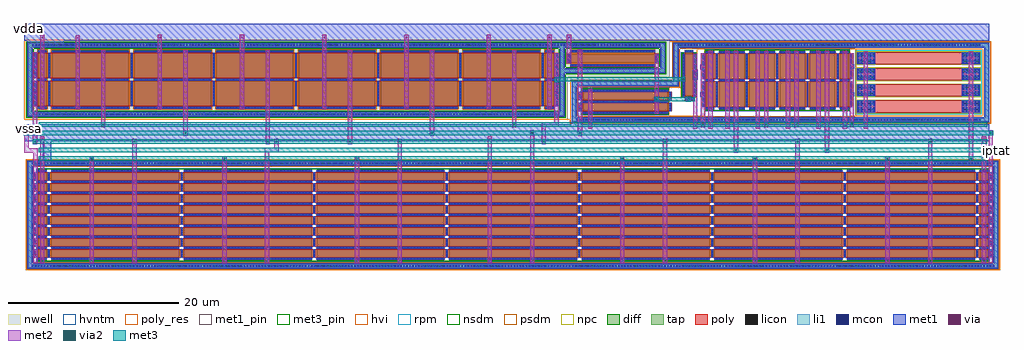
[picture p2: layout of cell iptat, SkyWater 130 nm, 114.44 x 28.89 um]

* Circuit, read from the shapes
.subckt iptat vdda vssa
XM1 vssa n1 vssa vssa sky130_fd_pr__nfet_g5v0d10v5 w=1 l=1 m=16
XM2 n2 n1 n3 vssa sky130_fd_pr__nfet_g5v0d10v5 w=15 l=1 m=48
XM3 n1 n1 vssa vssa sky130_fd_pr__nfet_g5v0d10v5 w=15 l=1 m=8
XM4 n4 n1 vssa vssa sky130_fd_pr__nfet_g5v0d10v5 w=10 l=1 m=2
XM5 vssa n4 n2 vssa sky130_fd_pr__nfet_g5v0d10v5 w=5 l=1
XM6 vssa n5 vssa vssa sky130_fd_pr__nfet_g5v0d10v5 w=1 l=3 m=4
XM7 n6 n5 vssa vssa sky130_fd_pr__nfet_g5v0d10v5 w=3 l=3 m=4
XM8 n5 n5 vssa vssa sky130_fd_pr__nfet_g5v0d10v5 w=3 l=3 m=4
XM9 vdda n2 vdda vdda sky130_fd_pr__pfet_g5v0d10v5 w=1 l=3 m=4
XM10 n5 n2 vdda vdda sky130_fd_pr__pfet_g5v0d10v5 w=9 l=3 m=4
XM11 n1 n2 vdda vdda sky130_fd_pr__pfet_g5v0d10v5 w=9 l=3 m=4
XM12 n2 n2 vdda vdda sky130_fd_pr__pfet_g5v0d10v5 w=9 l=3 m=4
XM13 n4 n1 vdda vdda sky130_fd_pr__pfet_g5v0d10v5 w=1 l=10
XR14 n3 vssa vssa sky130_fd_pr__res_high_po w=1.41 l=10.18 m=4
.ends

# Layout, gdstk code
from math import pi, radians
import gdstk
lib = gdstk.Library(unit=1e-6, precision=1e-09)
def R(c, l, rs):  # rectangles x0, y0, x1, y1
    for r in rs: c.add(gdstk.rectangle(r[:2], r[2:], *l))
def A(c, l, x, y, w, h, nx, ny, dx, dy):  # array of equal rectangles
    R(c, l, [(x+i*dx, y+j*dy, x+i*dx+w, y+j*dy+h) for i in range(nx) for j in range(ny)])
nwell = (64, 20)
diff = (65, 20)
tap = (65, 44)
poly_res = (66, 13)
poly = (66, 20)
licon = (66, 44)
li1 = (67, 20)
mcon = (67, 44)
met1_pin = (68, 16)
met1 = (68, 20)
via = (68, 44)
met2 = (69, 20)
via2 = (69, 44)
met3_pin = (70, 16)
met3 = (70, 20)
hvi = (75, 20)
rpm = (86, 20)
nsdm = (93, 44)
psdm = (94, 20)
npc = (95, 20)
hvntm = (125, 20)

sky130_fd_pr__res_high_p = lib.new_cell('sky130_fd_pr__res_high_po_1p41_WUTXG4')
A(sky130_fd_pr__res_high_p, poly_res, -3.54, -5.15, 1.41, 10.3, 4, 1, 1.89, 0)
A(sky130_fd_pr__res_high_p, poly, -3.54, -7.23, 1.41, 14.46, 4, 1, 1.89, 0)
R(sky130_fd_pr__res_high_p, licon, [(-3.285,-7.15,-3.095,-5.15), (-2.575,-7.15,-2.385,-5.15), (-1.395,-7.15,-1.205,-5.15), (-0.685,-7.15,-0.495,-5.15), (0.495,-7.15,0.685,-5.15), (1.205,-7.15,1.395,-5.15), (2.385,-7.15,2.575,-5.15), (3.095,-7.15,3.285,-5.15), (-3.285,5.15,-3.095,7.15), (-2.575,5.15,-2.385,7.15), (-1.395,5.15,-1.205,7.15), (-0.685,5.15,-0.495,7.15), (0.495,5.15,0.685,7.15), (1.205,5.15,1.395,7.15), (2.385,5.15,2.575,7.15), (3.095,5.15,3.285,7.15)])
A(sky130_fd_pr__res_high_p, li1, -3.54, -7.23, 1.41, 2.16, 4, 2, 1.89, 12.3)
A(sky130_fd_pr__res_high_p, mcon, -3.46, -7.135, 0.17, 0.17, 4, 6, 0.36, 0.36)
A(sky130_fd_pr__res_high_p, mcon, -1.57, -7.135, 0.17, 0.17, 4, 6, 0.36, 0.36)
A(sky130_fd_pr__res_high_p, mcon, 0.32, -7.135, 0.17, 0.17, 4, 6, 0.36, 0.36)
A(sky130_fd_pr__res_high_p, mcon, 2.21, -7.135, 0.17, 0.17, 4, 6, 0.36, 0.36)
A(sky130_fd_pr__res_high_p, mcon, -3.46, 5.16, 0.17, 0.17, 4, 6, 0.36, 0.36)
A(sky130_fd_pr__res_high_p, mcon, -1.57, 5.16, 0.17, 0.17, 4, 6, 0.36, 0.36)
A(sky130_fd_pr__res_high_p, mcon, 0.32, 5.16, 0.17, 0.17, 4, 6, 0.36, 0.36)
A(sky130_fd_pr__res_high_p, mcon, 2.21, 5.16, 0.17, 0.17, 4, 6, 0.36, 0.36)
A(sky130_fd_pr__res_high_p, met1, -3.49, -7.2, 1.31, 2.105, 4, 2, 1.89, 12.295)
R(sky130_fd_pr__res_high_p, rpm, [(-3.74,-7.43,3.74,7.43)])
R(sky130_fd_pr__res_high_p, psdm, [(-3.65,-7.34,3.65,7.34)])
A(sky130_fd_pr__res_high_p, npc, -3.635, -7.325, 1.6, 14.65, 4, 1, 1.89, 0)

sky130_fd_pr__nfet_g5v0d = lib.new_cell('sky130_fd_pr__nfet_g5v0d10v5_WC59T4')
R(sky130_fd_pr__nfet_g5v0d, diff, [(-5.305,-0.5,5.305,0.5)])
A(sky130_fd_pr__nfet_g5v0d, poly, -5.015, -0.94, 1, 1.88, 8, 1, 1.29, 0)
A(sky130_fd_pr__nfet_g5v0d, licon, -5.245, -0.425, 0.17, 0.17, 9, 3, 1.29, 0.34)
R(sky130_fd_pr__nfet_g5v0d, licon, [(-4.77,-0.86,-4.6,-0.69), (-4.43,-0.86,-4.26,-0.69), (-3.48,-0.86,-3.31,-0.69), (-3.14,-0.86,-2.97,-0.69), (-2.19,-0.86,-2.02,-0.69), (-1.85,-0.86,-1.68,-0.69), (-0.9,-0.86,-0.73,-0.69), (-0.56,-0.86,-0.39,-0.69), (0.39,-0.86,0.56,-0.69), (0.73,-0.86,0.9,-0.69), (1.68,-0.86,1.85,-0.69), (2.02,-0.86,2.19,-0.69), (2.97,-0.86,3.14,-0.69), (3.31,-0.86,3.48,-0.69), (4.26,-0.86,4.43,-0.69), (4.6,-0.86,4.77,-0.69), (-4.77,0.69,-4.6,0.86), (-4.43,0.69,-4.26,0.86), (-3.48,0.69,-3.31,0.86), (-3.14,0.69,-2.97,0.86), (-2.19,0.69,-2.02,0.86), (-1.85,0.69,-1.68,0.86), (-0.9,0.69,-0.73,0.86), (-0.56,0.69,-0.39,0.86), (0.39,0.69,0.56,0.86), (0.73,0.69,0.9,0.86), (1.68,0.69,1.85,0.86), (2.02,0.69,2.19,0.86), (2.97,0.69,3.14,0.86), (3.31,0.69,3.48,0.86), (4.26,0.69,4.43,0.86), (4.6,0.69,4.77,0.86)])
A(sky130_fd_pr__nfet_g5v0d, li1, -5.015, -0.86, 1, 0.17, 8, 2, 1.29, 1.55)
A(sky130_fd_pr__nfet_g5v0d, li1, -5.245, -0.52, 0.17, 1.04, 9, 1, 1.29, 0)
A(sky130_fd_pr__nfet_g5v0d, mcon, -5.245, -0.265, 0.17, 0.17, 9, 2, 1.29, 0.36)
R(sky130_fd_pr__nfet_g5v0d, mcon, [(-4.78,-0.86,-4.61,-0.69), (-4.42,-0.86,-4.25,-0.69), (-3.49,-0.86,-3.32,-0.69), (-3.13,-0.86,-2.96,-0.69), (-2.2,-0.86,-2.03,-0.69), (-1.84,-0.86,-1.67,-0.69), (-0.91,-0.86,-0.74,-0.69), (-0.55,-0.86,-0.38,-0.69), (0.38,-0.86,0.55,-0.69), (0.74,-0.86,0.91,-0.69), (1.67,-0.86,1.84,-0.69), (2.03,-0.86,2.2,-0.69), (2.96,-0.86,3.13,-0.69), (3.32,-0.86,3.49,-0.69), (4.25,-0.86,4.42,-0.69), (4.61,-0.86,4.78,-0.69), (-4.78,0.69,-4.61,0.86), (-4.42,0.69,-4.25,0.86), (-3.49,0.69,-3.32,0.86), (-3.13,0.69,-2.96,0.86), (-2.2,0.69,-2.03,0.86), (-1.84,0.69,-1.67,0.86), (-0.91,0.69,-0.74,0.86), (-0.55,0.69,-0.38,0.86), (0.38,0.69,0.55,0.86), (0.74,0.69,0.91,0.86), (1.67,0.69,1.84,0.86), (2.03,0.69,2.2,0.86), (2.96,0.69,3.13,0.86), (3.32,0.69,3.49,0.86), (4.25,0.69,4.42,0.86), (4.61,0.69,4.78,0.86)])
A(sky130_fd_pr__nfet_g5v0d, met1, -4.995, -0.89, 0.96, 0.23, 8, 2, 1.29, 1.55)
A(sky130_fd_pr__nfet_g5v0d, met1, -5.275, -0.5, 0.23, 1, 9, 1, 1.29, 0)
R(sky130_fd_pr__nfet_g5v0d, hvi, [(-5.49,-0.685,5.49,0.685)])
R(sky130_fd_pr__nfet_g5v0d, nsdm, [(-5.43,-0.625,5.43,0.625)])
A(sky130_fd_pr__nfet_g5v0d, npc, -4.87, -0.96, 0.71, 0.37, 8, 2, 1.29, 1.55)
R(sky130_fd_pr__nfet_g5v0d, hvntm, [(-5.49,-0.685,5.49,0.685)])

c_sky130_fd_pr__nfet_g5v0d = lib.new_cell('sky130_fd_pr__nfet_g5v0d10v5_5XWZCB')
R(c_sky130_fd_pr__nfet_g5v0d, diff, [(-3.435,-0.5,3.435,0.5)])
R(c_sky130_fd_pr__nfet_g5v0d, poly, [(-3.145,-0.94,-0.145,0.94), (0.145,-0.94,3.145,0.94)])
A(c_sky130_fd_pr__nfet_g5v0d, licon, -2.92, -0.86, 0.17, 0.17, 8, 2, 0.34, 1.55)
A(c_sky130_fd_pr__nfet_g5v0d, licon, 0.37, -0.86, 0.17, 0.17, 8, 2, 0.34, 1.55)
A(c_sky130_fd_pr__nfet_g5v0d, licon, -3.375, -0.425, 0.17, 0.17, 3, 3, 3.29, 0.34)
A(c_sky130_fd_pr__nfet_g5v0d, li1, -3.375, -0.52, 0.17, 1.04, 3, 1, 3.29, 0)
R(c_sky130_fd_pr__nfet_g5v0d, li1, [(-3.145,-0.86,-0.145,-0.69), (0.145,-0.86,3.145,-0.69), (-3.145,0.69,-0.145,0.86), (0.145,0.69,3.145,0.86)])
A(c_sky130_fd_pr__nfet_g5v0d, mcon, -2.99, -0.86, 0.17, 0.17, 8, 2, 0.36, 1.55)
A(c_sky130_fd_pr__nfet_g5v0d, mcon, 0.3, -0.86, 0.17, 0.17, 8, 2, 0.36, 1.55)
A(c_sky130_fd_pr__nfet_g5v0d, mcon, -3.375, -0.265, 0.17, 0.17, 3, 2, 3.29, 0.36)
A(c_sky130_fd_pr__nfet_g5v0d, met1, -3.405, -0.5, 0.23, 1, 3, 1, 3.29, 0)
R(c_sky130_fd_pr__nfet_g5v0d, met1, [(-3.125,-0.89,-0.165,-0.66), (0.165,-0.89,3.125,-0.66), (-3.125,0.66,-0.165,0.89), (0.165,0.66,3.125,0.89)])
R(c_sky130_fd_pr__nfet_g5v0d, hvi, [(-3.62,-0.685,3.62,0.685)])
R(c_sky130_fd_pr__nfet_g5v0d, nsdm, [(-3.56,-0.625,3.56,0.625)])
R(c_sky130_fd_pr__nfet_g5v0d, npc, [(-3.02,-0.96,-0.27,-0.59), (0.27,-0.96,3.02,-0.59), (-3.02,0.59,-0.27,0.96), (0.27,0.59,3.02,0.96)])
R(c_sky130_fd_pr__nfet_g5v0d, hvntm, [(-3.62,-0.685,3.62,0.685)])

sky130_fd_pr__pfet_g5v0d = lib.new_cell('sky130_fd_pr__pfet_g5v0d10v5_9TWSB2')
R(sky130_fd_pr__pfet_g5v0d, nwell, [(-3.615,-1,3.615,1)])
R(sky130_fd_pr__pfet_g5v0d, diff, [(-3.435,-0.5,3.435,0.5)])
R(sky130_fd_pr__pfet_g5v0d, poly, [(-3.145,-0.985,-0.145,0.985), (0.145,-0.985,3.145,0.985)])
A(sky130_fd_pr__pfet_g5v0d, licon, -2.92, -0.905, 0.17, 0.17, 8, 2, 0.34, 1.64)
A(sky130_fd_pr__pfet_g5v0d, licon, 0.37, -0.905, 0.17, 0.17, 8, 2, 0.34, 1.64)
A(sky130_fd_pr__pfet_g5v0d, licon, -3.375, -0.425, 0.17, 0.17, 3, 3, 3.29, 0.34)
A(sky130_fd_pr__pfet_g5v0d, li1, -3.375, -0.52, 0.17, 1.04, 3, 1, 3.29, 0)
R(sky130_fd_pr__pfet_g5v0d, li1, [(-3.145,-0.905,-0.145,-0.735), (0.145,-0.905,3.145,-0.735), (-3.145,0.735,-0.145,0.905), (0.145,0.735,3.145,0.905)])
A(sky130_fd_pr__pfet_g5v0d, mcon, -2.99, -0.905, 0.17, 0.17, 8, 2, 0.36, 1.64)
A(sky130_fd_pr__pfet_g5v0d, mcon, 0.3, -0.905, 0.17, 0.17, 8, 2, 0.36, 1.64)
A(sky130_fd_pr__pfet_g5v0d, mcon, -3.375, -0.265, 0.17, 0.17, 3, 2, 3.29, 0.36)
A(sky130_fd_pr__pfet_g5v0d, met1, -3.405, -0.5, 0.23, 1, 3, 1, 3.29, 0)
R(sky130_fd_pr__pfet_g5v0d, met1, [(-3.125,-0.935,-0.165,-0.705), (0.165,-0.935,3.125,-0.705), (-3.125,0.705,-0.165,0.935), (0.165,0.705,3.125,0.935)])
R(sky130_fd_pr__pfet_g5v0d, hvi, [(-3.615,-1,3.615,-0.685), (-3.62,-0.685,3.62,0.685), (-3.615,0.685,3.615,1)])
R(sky130_fd_pr__pfet_g5v0d, psdm, [(-3.56,-0.625,3.56,0.625)])
R(sky130_fd_pr__pfet_g5v0d, npc, [(-3.02,-1.005,-0.27,-0.635), (0.27,-1.005,3.02,-0.635), (-3.02,0.635,-0.27,1.005), (0.27,0.635,3.02,1.005)])

c_sky130_fd_pr__pfet_g5v0d = lib.new_cell('sky130_fd_pr__pfet_g5v0d10v5_4DZKWV')
R(c_sky130_fd_pr__pfet_g5v0d, nwell, [(-3.615,-1,3.615,1)])
R(c_sky130_fd_pr__pfet_g5v0d, diff, [(-3.435,-0.5,3.435,0.5)])
R(c_sky130_fd_pr__pfet_g5v0d, poly, [(-3.145,-0.985,-0.145,0.985), (0.145,-0.985,3.145,0.985)])
A(c_sky130_fd_pr__pfet_g5v0d, licon, -2.92, -0.905, 0.17, 0.17, 8, 2, 0.34, 1.64)
A(c_sky130_fd_pr__pfet_g5v0d, licon, 0.37, -0.905, 0.17, 0.17, 8, 2, 0.34, 1.64)
A(c_sky130_fd_pr__pfet_g5v0d, licon, -3.375, -0.425, 0.17, 0.17, 3, 3, 3.29, 0.34)
A(c_sky130_fd_pr__pfet_g5v0d, li1, -3.375, -0.52, 0.17, 1.04, 3, 1, 3.29, 0)
R(c_sky130_fd_pr__pfet_g5v0d, li1, [(-3.145,-0.905,-0.145,-0.735), (0.145,-0.905,3.145,-0.735), (-3.145,0.735,-0.145,0.905), (0.145,0.735,3.145,0.905)])
A(c_sky130_fd_pr__pfet_g5v0d, mcon, -2.99, -0.905, 0.17, 0.17, 8, 2, 0.36, 1.64)
A(c_sky130_fd_pr__pfet_g5v0d, mcon, 0.3, -0.905, 0.17, 0.17, 8, 2, 0.36, 1.64)
A(c_sky130_fd_pr__pfet_g5v0d, mcon, -3.375, -0.265, 0.17, 0.17, 3, 2, 3.29, 0.36)
A(c_sky130_fd_pr__pfet_g5v0d, met1, -3.405, -0.5, 0.23, 1, 3, 1, 3.29, 0)
R(c_sky130_fd_pr__pfet_g5v0d, met1, [(-3.125,-0.935,-0.165,-0.705), (0.165,-0.935,3.125,-0.705), (-3.125,0.705,-0.165,0.935), (0.165,0.705,3.125,0.935)])
R(c_sky130_fd_pr__pfet_g5v0d, hvi, [(-3.615,-1,3.615,-0.685), (-3.62,-0.685,3.62,0.685), (-3.615,0.685,3.615,1)])
R(c_sky130_fd_pr__pfet_g5v0d, psdm, [(-3.56,-0.625,3.56,0.625)])
R(c_sky130_fd_pr__pfet_g5v0d, npc, [(-3.02,-1.005,-0.27,-0.635), (0.27,-1.005,3.02,-0.635), (-3.02,0.635,-0.27,1.005), (0.27,0.635,3.02,1.005)])

c_sky130_fd_pr__nfet_g5v0d_ = lib.new_cell('sky130_fd_pr__nfet_g5v0d10v5_8D664F')
R(c_sky130_fd_pr__nfet_g5v0d_, diff, [(-5.305,-7.5,5.305,7.5)])
A(c_sky130_fd_pr__nfet_g5v0d_, poly, -5.015, -7.94, 1, 15.88, 8, 1, 1.29, 0)
A(c_sky130_fd_pr__nfet_g5v0d_, licon, -5.245, -7.395, 0.17, 0.17, 9, 44, 1.29, 0.34)
R(c_sky130_fd_pr__nfet_g5v0d_, licon, [(-4.77,-7.86,-4.6,-7.69), (-4.43,-7.86,-4.26,-7.69), (-3.48,-7.86,-3.31,-7.69), (-3.14,-7.86,-2.97,-7.69), (-2.19,-7.86,-2.02,-7.69), (-1.85,-7.86,-1.68,-7.69), (-0.9,-7.86,-0.73,-7.69), (-0.56,-7.86,-0.39,-7.69), (0.39,-7.86,0.56,-7.69), (0.73,-7.86,0.9,-7.69), (1.68,-7.86,1.85,-7.69), (2.02,-7.86,2.19,-7.69), (2.97,-7.86,3.14,-7.69), (3.31,-7.86,3.48,-7.69), (4.26,-7.86,4.43,-7.69), (4.6,-7.86,4.77,-7.69), (-4.77,7.69,-4.6,7.86), (-4.43,7.69,-4.26,7.86), (-3.48,7.69,-3.31,7.86), (-3.14,7.69,-2.97,7.86), (-2.19,7.69,-2.02,7.86), (-1.85,7.69,-1.68,7.86), (-0.9,7.69,-0.73,7.86), (-0.56,7.69,-0.39,7.86), (0.39,7.69,0.56,7.86), (0.73,7.69,0.9,7.86), (1.68,7.69,1.85,7.86), (2.02,7.69,2.19,7.86), (2.97,7.69,3.14,7.86), (3.31,7.69,3.48,7.86), (4.26,7.69,4.43,7.86), (4.6,7.69,4.77,7.86)])
A(c_sky130_fd_pr__nfet_g5v0d_, li1, -5.015, -7.86, 1, 0.17, 8, 2, 1.29, 15.55)
A(c_sky130_fd_pr__nfet_g5v0d_, li1, -5.245, -7.52, 0.17, 15.04, 9, 1, 1.29, 0)
A(c_sky130_fd_pr__nfet_g5v0d_, mcon, -5.245, -7.285, 0.17, 0.17, 9, 41, 1.29, 0.36)
R(c_sky130_fd_pr__nfet_g5v0d_, mcon, [(-4.78,-7.86,-4.61,-7.69), (-4.42,-7.86,-4.25,-7.69), (-3.49,-7.86,-3.32,-7.69), (-3.13,-7.86,-2.96,-7.69), (-2.2,-7.86,-2.03,-7.69), (-1.84,-7.86,-1.67,-7.69), (-0.91,-7.86,-0.74,-7.69), (-0.55,-7.86,-0.38,-7.69), (0.38,-7.86,0.55,-7.69), (0.74,-7.86,0.91,-7.69), (1.67,-7.86,1.84,-7.69), (2.03,-7.86,2.2,-7.69), (2.96,-7.86,3.13,-7.69), (3.32,-7.86,3.49,-7.69), (4.25,-7.86,4.42,-7.69), (4.61,-7.86,4.78,-7.69), (-4.78,7.69,-4.61,7.86), (-4.42,7.69,-4.25,7.86), (-3.49,7.69,-3.32,7.86), (-3.13,7.69,-2.96,7.86), (-2.2,7.69,-2.03,7.86), (-1.84,7.69,-1.67,7.86), (-0.91,7.69,-0.74,7.86), (-0.55,7.69,-0.38,7.86), (0.38,7.69,0.55,7.86), (0.74,7.69,0.91,7.86), (1.67,7.69,1.84,7.86), (2.03,7.69,2.2,7.86), (2.96,7.69,3.13,7.86), (3.32,7.69,3.49,7.86), (4.25,7.69,4.42,7.86), (4.61,7.69,4.78,7.86)])
A(c_sky130_fd_pr__nfet_g5v0d_, met1, -4.995, -7.89, 0.96, 0.23, 8, 2, 1.29, 15.55)
A(c_sky130_fd_pr__nfet_g5v0d_, met1, -5.275, -7.5, 0.23, 15, 9, 1, 1.29, 0)
R(c_sky130_fd_pr__nfet_g5v0d_, hvi, [(-5.49,-7.685,5.49,7.685)])
R(c_sky130_fd_pr__nfet_g5v0d_, nsdm, [(-5.43,-7.625,5.43,7.625)])
A(c_sky130_fd_pr__nfet_g5v0d_, npc, -4.87, -7.96, 0.71, 0.37, 8, 2, 1.29, 15.55)
R(c_sky130_fd_pr__nfet_g5v0d_, hvntm, [(-5.49,-7.685,5.49,7.685)])

c_sky130_fd_pr__pfet_g5v0d_ = lib.new_cell('sky130_fd_pr__pfet_g5v0d10v5_KH6JES')
R(c_sky130_fd_pr__pfet_g5v0d_, nwell, [(-5.47,-1,5.47,1)])
R(c_sky130_fd_pr__pfet_g5v0d_, diff, [(-5.29,-0.5,5.29,0.5)])
R(c_sky130_fd_pr__pfet_g5v0d_, poly, [(-5,-0.985,5,0.985)])
A(c_sky130_fd_pr__pfet_g5v0d_, licon, -4.845, -0.905, 0.17, 0.17, 29, 2, 0.34, 1.64)
A(c_sky130_fd_pr__pfet_g5v0d_, licon, -5.23, -0.425, 0.17, 0.17, 1, 3, 0, 0.34)
A(c_sky130_fd_pr__pfet_g5v0d_, licon, 5.06, -0.425, 0.17, 0.17, 1, 3, 0, 0.34)
R(c_sky130_fd_pr__pfet_g5v0d_, li1, [(-5,-0.905,5,-0.735), (-5.23,-0.52,-5.06,0.52), (5.06,-0.52,5.23,0.52), (-5,0.735,5,0.905)])
A(c_sky130_fd_pr__pfet_g5v0d_, mcon, -4.765, -0.905, 0.17, 0.17, 27, 2, 0.36, 1.64)
R(c_sky130_fd_pr__pfet_g5v0d_, mcon, [(-5.23,-0.265,-5.06,-0.095), (5.06,-0.265,5.23,-0.095), (-5.23,0.095,-5.06,0.265), (5.06,0.095,5.23,0.265)])
R(c_sky130_fd_pr__pfet_g5v0d_, met1, [(-4.98,-0.935,4.98,-0.705), (-5.26,-0.5,-5.03,0.5), (5.03,-0.5,5.26,0.5), (-4.98,0.705,4.98,0.935)])
R(c_sky130_fd_pr__pfet_g5v0d_, hvi, [(-5.47,-1,5.47,-0.685), (-5.475,-0.685,5.475,0.685), (-5.47,0.685,5.47,1)])
R(c_sky130_fd_pr__pfet_g5v0d_, psdm, [(-5.415,-0.625,5.415,0.625)])
R(c_sky130_fd_pr__pfet_g5v0d_, npc, [(-4.945,-1.005,4.945,-0.635), (-4.945,0.635,4.945,1.005)])

c_sky130_fd_pr__nfet_g5v0d__ = lib.new_cell('sky130_fd_pr__nfet_g5v0d10v5_NASXE7')
R(c_sky130_fd_pr__nfet_g5v0d__, diff, [(-0.79,-2.5,0.79,2.5)])
R(c_sky130_fd_pr__nfet_g5v0d__, poly, [(-0.5,-2.94,0.5,2.94)])
A(c_sky130_fd_pr__nfet_g5v0d__, licon, -0.73, -2.295, 0.17, 0.17, 1, 14, 0, 0.34)
A(c_sky130_fd_pr__nfet_g5v0d__, licon, 0.56, -2.295, 0.17, 0.17, 1, 14, 0, 0.34)
R(c_sky130_fd_pr__nfet_g5v0d__, licon, [(-0.255,-2.86,-0.085,-2.69), (0.085,-2.86,0.255,-2.69), (-0.255,2.69,-0.085,2.86), (0.085,2.69,0.255,2.86)])
R(c_sky130_fd_pr__nfet_g5v0d__, li1, [(-0.5,-2.86,0.5,-2.69), (-0.73,-2.52,-0.56,2.52), (0.56,-2.52,0.73,2.52), (-0.5,2.69,0.5,2.86)])
A(c_sky130_fd_pr__nfet_g5v0d__, mcon, -0.73, -2.425, 0.17, 0.17, 1, 14, 0, 0.36)
A(c_sky130_fd_pr__nfet_g5v0d__, mcon, 0.56, -2.425, 0.17, 0.17, 1, 14, 0, 0.36)
R(c_sky130_fd_pr__nfet_g5v0d__, mcon, [(-0.265,-2.86,-0.095,-2.69), (0.095,-2.86,0.265,-2.69), (-0.265,2.69,-0.095,2.86), (0.095,2.69,0.265,2.86)])
R(c_sky130_fd_pr__nfet_g5v0d__, met1, [(-0.48,-2.89,0.48,-2.66), (-0.76,-2.5,-0.53,2.5), (0.53,-2.5,0.76,2.5), (-0.48,2.66,0.48,2.89)])
R(c_sky130_fd_pr__nfet_g5v0d__, hvi, [(-0.975,-2.685,0.975,2.685)])
R(c_sky130_fd_pr__nfet_g5v0d__, nsdm, [(-0.915,-2.625,0.915,2.625)])
R(c_sky130_fd_pr__nfet_g5v0d__, npc, [(-0.355,-2.96,0.355,-2.59), (-0.355,2.59,0.355,2.96)])
R(c_sky130_fd_pr__nfet_g5v0d__, hvntm, [(-0.975,-2.685,0.975,2.685)])

c_sky130_fd_pr__nfet_g5v0d___ = lib.new_cell('sky130_fd_pr__nfet_g5v0d10v5_Z9T923')
R(c_sky130_fd_pr__nfet_g5v0d___, diff, [(-1.435,-5,1.435,5)])
R(c_sky130_fd_pr__nfet_g5v0d___, poly, [(-1.145,-5.44,-0.145,5.44), (0.145,-5.44,1.145,5.44)])
A(c_sky130_fd_pr__nfet_g5v0d___, licon, -1.375, -4.845, 0.17, 0.17, 3, 29, 1.29, 0.34)
R(c_sky130_fd_pr__nfet_g5v0d___, licon, [(-0.9,-5.36,-0.73,-5.19), (-0.56,-5.36,-0.39,-5.19), (0.39,-5.36,0.56,-5.19), (0.73,-5.36,0.9,-5.19), (-0.9,5.19,-0.73,5.36), (-0.56,5.19,-0.39,5.36), (0.39,5.19,0.56,5.36), (0.73,5.19,0.9,5.36)])
A(c_sky130_fd_pr__nfet_g5v0d___, li1, -1.375, -5.02, 0.17, 10.04, 3, 1, 1.29, 0)
R(c_sky130_fd_pr__nfet_g5v0d___, li1, [(-1.145,-5.36,-0.145,-5.19), (0.145,-5.36,1.145,-5.19), (-1.145,5.19,-0.145,5.36), (0.145,5.19,1.145,5.36)])
A(c_sky130_fd_pr__nfet_g5v0d___, mcon, -1.375, -4.765, 0.17, 0.17, 3, 27, 1.29, 0.36)
R(c_sky130_fd_pr__nfet_g5v0d___, mcon, [(-0.91,-5.36,-0.74,-5.19), (-0.55,-5.36,-0.38,-5.19), (0.38,-5.36,0.55,-5.19), (0.74,-5.36,0.91,-5.19), (-0.91,5.19,-0.74,5.36), (-0.55,5.19,-0.38,5.36), (0.38,5.19,0.55,5.36), (0.74,5.19,0.91,5.36)])
A(c_sky130_fd_pr__nfet_g5v0d___, met1, -1.405, -5, 0.23, 10, 3, 1, 1.29, 0)
R(c_sky130_fd_pr__nfet_g5v0d___, met1, [(-1.125,-5.39,-0.165,-5.16), (0.165,-5.39,1.125,-5.16), (-1.125,5.16,-0.165,5.39), (0.165,5.16,1.125,5.39)])
R(c_sky130_fd_pr__nfet_g5v0d___, hvi, [(-1.62,-5.185,1.62,5.185)])
R(c_sky130_fd_pr__nfet_g5v0d___, nsdm, [(-1.56,-5.125,1.56,5.125)])
R(c_sky130_fd_pr__nfet_g5v0d___, npc, [(-1,-5.46,-0.29,-5.09), (0.29,-5.46,1,-5.09), (-1,5.09,-0.29,5.46), (0.29,5.09,1,5.46)])
R(c_sky130_fd_pr__nfet_g5v0d___, hvntm, [(-1.62,-5.185,1.62,5.185)])

c_sky130_fd_pr__nfet_g5v0d____ = lib.new_cell('sky130_fd_pr__nfet_g5v0d10v5_T4FFC6')
R(c_sky130_fd_pr__nfet_g5v0d____, diff, [(-3.435,-1.5,3.435,1.5)])
R(c_sky130_fd_pr__nfet_g5v0d____, poly, [(-3.145,-1.94,-0.145,1.94), (0.145,-1.94,3.145,1.94)])
A(c_sky130_fd_pr__nfet_g5v0d____, licon, -2.92, -1.86, 0.17, 0.17, 8, 2, 0.34, 3.55)
A(c_sky130_fd_pr__nfet_g5v0d____, licon, 0.37, -1.86, 0.17, 0.17, 8, 2, 0.34, 3.55)
A(c_sky130_fd_pr__nfet_g5v0d____, licon, -3.375, -1.275, 0.17, 0.17, 3, 8, 3.29, 0.34)
A(c_sky130_fd_pr__nfet_g5v0d____, li1, -3.375, -1.52, 0.17, 3.04, 3, 1, 3.29, 0)
R(c_sky130_fd_pr__nfet_g5v0d____, li1, [(-3.145,-1.86,-0.145,-1.69), (0.145,-1.86,3.145,-1.69), (-3.145,1.69,-0.145,1.86), (0.145,1.69,3.145,1.86)])
A(c_sky130_fd_pr__nfet_g5v0d____, mcon, -2.99, -1.86, 0.17, 0.17, 8, 2, 0.36, 3.55)
A(c_sky130_fd_pr__nfet_g5v0d____, mcon, 0.3, -1.86, 0.17, 0.17, 8, 2, 0.36, 3.55)
A(c_sky130_fd_pr__nfet_g5v0d____, mcon, -3.375, -1.345, 0.17, 0.17, 3, 8, 3.29, 0.36)
A(c_sky130_fd_pr__nfet_g5v0d____, met1, -3.405, -1.5, 0.23, 3, 3, 1, 3.29, 0)
R(c_sky130_fd_pr__nfet_g5v0d____, met1, [(-3.125,-1.89,-0.165,-1.66), (0.165,-1.89,3.125,-1.66), (-3.125,1.66,-0.165,1.89), (0.165,1.66,3.125,1.89)])
R(c_sky130_fd_pr__nfet_g5v0d____, hvi, [(-3.62,-1.685,3.62,1.685)])
R(c_sky130_fd_pr__nfet_g5v0d____, nsdm, [(-3.56,-1.625,3.56,1.625)])
R(c_sky130_fd_pr__nfet_g5v0d____, npc, [(-3.02,-1.96,-0.27,-1.59), (0.27,-1.96,3.02,-1.59), (-3.02,1.59,-0.27,1.96), (0.27,1.59,3.02,1.96)])
R(c_sky130_fd_pr__nfet_g5v0d____, hvntm, [(-3.62,-1.685,3.62,1.685)])

c_sky130_fd_pr__pfet_g5v0d__ = lib.new_cell('sky130_fd_pr__pfet_g5v0d10v5_8TN7ZV')
R(c_sky130_fd_pr__pfet_g5v0d__, nwell, [(-3.615,-5,3.615,5)])
R(c_sky130_fd_pr__pfet_g5v0d__, diff, [(-3.435,-4.5,3.435,4.5)])
R(c_sky130_fd_pr__pfet_g5v0d__, poly, [(-3.145,-4.985,-0.145,4.985), (0.145,-4.985,3.145,4.985)])
A(c_sky130_fd_pr__pfet_g5v0d__, licon, -2.92, -4.905, 0.17, 0.17, 8, 2, 0.34, 9.64)
A(c_sky130_fd_pr__pfet_g5v0d__, licon, 0.37, -4.905, 0.17, 0.17, 8, 2, 0.34, 9.64)
A(c_sky130_fd_pr__pfet_g5v0d__, licon, -3.375, -4.335, 0.17, 0.17, 3, 26, 3.29, 0.34)
A(c_sky130_fd_pr__pfet_g5v0d__, li1, -3.375, -4.52, 0.17, 9.04, 3, 1, 3.29, 0)
R(c_sky130_fd_pr__pfet_g5v0d__, li1, [(-3.145,-4.905,-0.145,-4.735), (0.145,-4.905,3.145,-4.735), (-3.145,4.735,-0.145,4.905), (0.145,4.735,3.145,4.905)])
A(c_sky130_fd_pr__pfet_g5v0d__, mcon, -2.99, -4.905, 0.17, 0.17, 8, 2, 0.36, 9.64)
A(c_sky130_fd_pr__pfet_g5v0d__, mcon, 0.3, -4.905, 0.17, 0.17, 8, 2, 0.36, 9.64)
A(c_sky130_fd_pr__pfet_g5v0d__, mcon, -3.375, -4.405, 0.17, 0.17, 3, 25, 3.29, 0.36)
A(c_sky130_fd_pr__pfet_g5v0d__, met1, -3.405, -4.5, 0.23, 9, 3, 1, 3.29, 0)
R(c_sky130_fd_pr__pfet_g5v0d__, met1, [(-3.125,-4.935,-0.165,-4.705), (0.165,-4.935,3.125,-4.705), (-3.125,4.705,-0.165,4.935), (0.165,4.705,3.125,4.935)])
R(c_sky130_fd_pr__pfet_g5v0d__, hvi, [(-3.615,-5,3.615,-4.685), (-3.62,-4.685,3.62,4.685), (-3.615,4.685,3.615,5)])
R(c_sky130_fd_pr__pfet_g5v0d__, psdm, [(-3.56,-4.625,3.56,4.625)])
R(c_sky130_fd_pr__pfet_g5v0d__, npc, [(-3.02,-5.005,-0.27,-4.635), (0.27,-5.005,3.02,-4.635), (-3.02,4.635,-0.27,5.005), (0.27,4.635,3.02,5.005)])

iptat = lib.new_cell('iptat')
R(iptat, nwell, [(4.7,14.15,68.4,19.15), (4.7,19.15,80.35,23.55)])
R(iptat, tap, [(5.05,-3.3,118.9,-2.7), (5.05,-2.7,5.65,8.75), (118.3,-2.7,118.9,8.75), (5.05,8.75,118.9,9.35), (68.85,13.85,117.85,14.45), (68.85,14.45,69.45,18.1), (117.25,14.45,117.85,22.6), (5.05,14.5,68.05,15.1), (5.05,15.1,5.65,22.6), (67.45,15.1,68.05,19.6), (68.85,18.1,81.4,18.7), (80.8,18.7,81.4,22.6), (67.45,19.6,79.85,20.2), (67.45,20.2,68.05,22.6), (79.25,20.2,79.85,22.6), (5.05,22.6,79.85,23.2), (80.8,22.6,117.85,23.2)])
A(iptat, licon, 5.62, -3.085, 0.17, 0.17, 332, 2, 0.34, 12.05)
A(iptat, licon, 69.41, 14.065, 0.17, 0.17, 140, 1, 0.34, 0)
A(iptat, licon, 5.695, 14.715, 0.17, 0.17, 182, 1, 0.34, 0)
A(iptat, licon, 5.645, 22.815, 0.17, 0.17, 217, 1, 0.34, 0)
A(iptat, licon, 81.455, 22.815, 0.17, 0.17, 104, 1, 0.34, 0)
R(iptat, li1, [(5.15,-3.2,118.8,-2.8), (5.15,-2.8,5.55,8.85), (118.4,-2.8,118.8,8.85), (5.15,8.85,118.8,9.25), (68.95,13.95,117.75,14.35), (68.95,14.35,69.35,18.2), (117.35,14.35,117.75,22.7), (5.15,14.6,67.95,15), (5.15,15,5.55,22.7), (67.55,15,67.95,19.7), (68.95,18.2,81.3,18.6), (80.9,18.6,81.3,22.7), (67.55,19.7,79.75,20.1), (67.55,20.1,67.95,22.7), (79.35,20.1,79.75,22.7), (5.15,22.7,79.75,23.1), (80.9,22.7,117.75,23.1)])
A(iptat, mcon, 5.55, -3.085, 0.17, 0.17, 314, 2, 0.36, 12.05)
A(iptat, mcon, 69.46, 14.065, 0.17, 0.17, 132, 1, 0.36, 0)
A(iptat, mcon, 5.685, 14.715, 0.17, 0.17, 172, 1, 0.36, 0)
A(iptat, mcon, 5.645, 22.815, 0.17, 0.17, 205, 1, 0.36, 0)
A(iptat, mcon, 81.325, 22.815, 0.17, 0.17, 99, 1, 0.36, 0)
R(iptat, met1_pin, [(4.7,12.65,5.7,13.65), (4.7,24.4,5.7,25.4)])
A(iptat, met1, 12.3, -2.3, 0.6, 0.29, 7, 5, 15.55, 2.58)
A(iptat, met1, 116.9, -2.3, 0.6, 0.29, 1, 9, 0, 1.29)
A(iptat, met1, 117.7, -1.85, 0.45, 0.7, 1, 4, 0, 1.3)
A(iptat, met1, 6.5, -1.01, 0.6, 0.29, 1, 8, 0, 1.29)
A(iptat, met1, 17.3, -1.01, 0.6, 0.29, 7, 4, 15.55, 2.58)
A(iptat, met1, 5.8, 0.7, 0.45, 0.7, 1, 5, 0, 1.3)
A(iptat, met1, 117.7, 3.3, 0.45, 0.7, 1, 3, 0, 1.3)
A(iptat, met1, 84.85, 15.35, 0.6, 0.29, 1, 3, 0, 3.29)
A(iptat, met1, 86.84, 15.35, 0.6, 0.29, 4, 2, 3.55, 6.58)
A(iptat, met1, 100.6, 15.35, 0.6, 0.29, 1, 3, 0, 3.29)
A(iptat, met1, 6.5, 15.43, 0.6, 0.29, 1, 3, 0, 3.29)
A(iptat, met1, 10.64, 15.43, 0.6, 0.29, 6, 2, 9.64, 6.58)
A(iptat, met1, 103.05, 15.45, 0.6, 0.5, 1, 3, 0, 1.9)
A(iptat, met1, 87.84, 18.64, 0.6, 0.29, 3, 1, 3.55, 0)
A(iptat, met1, 13.64, 18.72, 0.6, 0.29, 6, 1, 9.64, 0)
R(iptat, met1, [(5.05,-3.3,118.9,-2.7), (5.05,-2.7,5.65,8.75), (118.3,-2.7,118.9,8.75), (6.5,-2.3,7.1,-2.015), (5.8,-1.85,6.25,-1.15), (5.8,-0.55,6.25,0.15), (5.8,7.15,6.25,7.85), (117.7,7.15,118.15,7.85), (5.05,8.75,118.9,9.35), (6.85,9.35,7.85,11.65), (4.7,11.65,117.85,13.65), (68.85,13.65,69.85,13.85), (68.85,13.85,117.85,14.45), (68.85,14.45,69.45,18.1), (117.25,14.45,117.85,22.6), (5.05,14.5,68.05,15.1), (70.75,14.85,71.35,15.15), (5.05,15.1,5.65,22.6), (67.45,15.1,68.05,19.6), (69.6,15.3,70.05,16), (65.95,15.425,66.55,15.72), (115.4,15.45,116,15.95), (78.55,16.15,79.15,16.45), (82.25,16.3,82.85,16.8), (69.6,16.6,70.05,17.3), (83.95,16.85,84.55,17.35), (101.45,16.9,102,17.4), (5.8,17,6.2,17.5), (66.85,17,67.3,17.5), (115.4,17.35,116,17.85), (70.75,17.45,71.35,17.75), (68.85,18.1,81.4,18.7), (98.485,18.64,99.085,18.93), (81.8,18.65,82.2,19.15), (80.8,18.7,81.4,22.6), (65.95,18.72,66.55,19.015), (83.05,18.85,83.65,20), (115.4,19.2,116,19.7), (67.45,19.6,79.85,20.2), (5.8,20.1,6.2,20.6), (83.95,20.1,84.55,20.6), (101.45,20.15,102,20.65), (67.45,20.2,68.05,22.6), (79.25,20.2,79.85,22.6), (66.85,20.3,67.3,20.8), (69.55,20.35,70.15,20.65), (68.3,20.9,68.7,21.8), (78.65,20.9,79.05,21.8), (103.05,21.1,103.65,21.6), (115.4,21.15,116,21.65), (65.95,22.01,66.55,22.305), (69.55,22.05,70.15,22.35), (5.05,22.6,79.85,23.2), (80.8,22.6,117.85,23.2), (5.05,23.2,9.3,23.4), (4.7,23.4,117.85,25.4)])
A(iptat, via, 12.525, -2.23, 0.15, 0.15, 7, 5, 15.55, 2.58)
A(iptat, via, 117.125, -2.23, 0.15, 0.15, 1, 9, 0, 1.29)
A(iptat, via, 6.725, -0.94, 0.15, 0.15, 1, 8, 0, 1.29)
A(iptat, via, 17.525, -0.94, 0.15, 0.15, 7, 4, 15.55, 2.58)
A(iptat, via, 87.065, 13.325, 0.15, 0.15, 4, 2, 3.55, 2.095)
A(iptat, via, 85.075, 15.42, 0.15, 0.15, 1, 3, 0, 3.29)
A(iptat, via, 100.825, 15.42, 0.15, 0.15, 1, 3, 0, 3.29)
A(iptat, via, 6.725, 15.5, 0.15, 0.15, 1, 3, 0, 3.29)
A(iptat, via, 10.865, 15.5, 0.15, 0.15, 6, 2, 9.64, 6.58)
A(iptat, via, 103.275, 15.625, 0.15, 0.15, 1, 3, 0, 1.9)
A(iptat, via, 88.065, 18.71, 0.15, 0.15, 3, 1, 3.55, 0)
A(iptat, via, 13.865, 18.79, 0.15, 0.15, 6, 1, 9.64, 0)
A(iptat, via, 83.275, 19.03, 0.15, 0.15, 1, 3, 0, 0.32)
A(iptat, via, 68.425, 20.955, 0.15, 0.15, 1, 3, 0, 0.32)
A(iptat, via, 78.775, 20.955, 0.15, 0.15, 1, 3, 0, 0.32)
A(iptat, via, 87.065, 22, 0.15, 0.15, 4, 1, 3.55, 0)
A(iptat, via, 20.505, 23.725, 0.15, 0.15, 5, 1, 9.64, 0)
R(iptat, via, [(6.725,-2.235,6.875,-2.085), (5.95,-1.735,6.1,-1.585), (117.85,-1.735,118,-1.585), (5.95,-1.415,6.1,-1.265), (117.85,-1.415,118,-1.265), (5.95,-0.435,6.1,-0.285), (117.85,-0.435,118,-0.285), (5.95,-0.115,6.1,0.035), (117.85,-0.115,118,0.035), (5.95,0.815,6.1,0.965), (117.85,0.865,118,1.015), (5.95,1.135,6.1,1.285), (117.85,1.185,118,1.335), (5.95,2.115,6.1,2.265), (117.85,2.165,118,2.315), (5.95,2.435,6.1,2.585), (117.85,2.485,118,2.635), (5.95,3.415,6.1,3.565), (117.85,3.415,118,3.565), (5.95,3.735,6.1,3.885), (117.85,3.735,118,3.885), (5.95,4.715,6.1,4.865), (117.85,4.715,118,4.865), (5.95,5.035,6.1,5.185), (117.85,5.035,118,5.185), (5.95,6.015,6.1,6.165), (117.85,6.015,118,6.165), (5.95,6.335,6.1,6.485), (117.85,6.335,118,6.485), (5.95,7.265,6.1,7.415), (117.85,7.265,118,7.415), (5.95,7.585,6.1,7.735), (117.85,7.585,118,7.735), (6.725,11.825,6.875,11.975), (59.175,11.825,59.325,11.975), (117.125,11.825,117.275,11.975), (70.975,13.325,71.125,13.475), (83.275,13.325,83.425,13.475), (85.075,13.325,85.225,13.475), (100.825,13.325,100.975,13.475), (103.275,13.325,103.425,13.475), (70.975,14.925,71.125,15.075), (69.75,15.415,69.9,15.565), (66.175,15.495,66.325,15.645), (115.625,15.625,115.775,15.775), (69.75,15.735,69.9,15.885), (78.775,16.225,78.925,16.375), (82.475,16.475,82.625,16.625), (69.75,16.715,69.9,16.865), (84.175,17.025,84.325,17.175), (69.75,17.035,69.9,17.185), (101.65,17.075,101.8,17.225), (5.925,17.175,6.075,17.325), (67,17.175,67.15,17.325), (70.975,17.525,71.125,17.675), (115.625,17.525,115.775,17.675), (98.71,18.71,98.86,18.86), (66.175,18.79,66.325,18.94), (81.925,18.825,82.075,18.975), (115.625,19.375,115.775,19.525), (5.925,20.275,6.075,20.425), (84.175,20.275,84.325,20.425), (101.65,20.325,101.8,20.475), (69.775,20.425,69.925,20.575), (67,20.475,67.15,20.625), (103.275,21.275,103.425,21.425), (115.625,21.325,115.775,21.475), (66.175,22.08,66.325,22.23), (69.775,22.125,69.925,22.275), (10.865,23.7,11.015,23.85), (6.725,23.725,6.875,23.875), (66.175,23.725,66.325,23.875), (68.475,23.725,68.625,23.875)])
A(iptat, met2, 12.35, -2.7, 0.5, 12.6, 3, 1, 15.55, 0)
A(iptat, met2, 17.35, -2.7, 0.5, 14.6, 3, 1, 31.1, 0)
A(iptat, met2, 74.55, -2.7, 0.5, 12.6, 3, 1, 15.55, 0)
A(iptat, met2, 86.89, 13.1, 0.5, 9.17, 4, 1, 3.55, 0)
A(iptat, met2, 20.33, 15.38, 0.5, 8.72, 5, 1, 9.64, 0)
R(iptat, met2, [(5.75,-2.7,6.25,10.3), (6.55,-2.7,7.05,12.2), (32.9,-2.7,33.4,10.35), (59,-2.7,59.5,12.2), (64,-2.7,64.5,12.9), (95.1,-2.7,95.6,11.9), (110.65,-2.7,111.15,11.9), (116.95,-2.7,117.45,12.2), (117.75,-2.7,118.25,12.9), (115.45,9.3,115.95,22.1), (4.7,10.3,6.25,10.8), (87.89,10.3,88.39,22.25), (98.54,10.3,99.04,18.59), (32.9,10.35,34.5,10.85), (4.7,10.8,5.2,12.9), (34,10.85,34.5,11.9), (5.7,11.3,6.2,22.05), (32.97,11.3,33.47,22.3), (42.61,11.3,43.11,22.3), (65.35,11.3,65.85,13.35), (23.33,12.3,23.83,22.3), (52.25,12.3,52.75,22.3), (69.6,12.3,70.1,22.4), (70.8,13.1,71.3,17.8), (83.1,13.1,83.6,21.9), (84.9,13.1,85.4,22.27), (100.65,13.1,101.15,22.27), (103.1,13.1,103.6,22.1), (13.69,13.3,14.19,22.3), (61.89,13.3,62.39,22.3), (84,13.3,84.5,21.95), (91.44,13.3,91.94,22.25), (94.99,13.3,95.49,22.25), (101.45,13.3,101.95,21.95), (65.35,13.35,67.35,13.85), (66.85,13.85,67.35,22), (78.6,14.85,79.1,21.9), (66,15.375,66.5,24.1), (6.55,15.38,7.05,24.1), (10.69,15.38,11.19,24.05), (82.3,16.25,82.8,16.85), (98.535,18.59,99.04,18.98), (81.85,18.6,82.15,19.2), (98.54,18.98,99.04,22.25), (68.3,20.8,68.8,24.1)])
A(iptat, via2, 12.5, 9.5, 0.2, 0.2, 3, 1, 15.55, 0)
A(iptat, via2, 74.7, 9.5, 0.2, 0.2, 3, 1, 15.55, 0)
A(iptat, via2, 79.7, 11.5, 0.2, 0.2, 3, 1, 15.55, 0)
R(iptat, via2, [(115.6,9.5,115.8,9.7), (88.04,10.5,88.24,10.7), (98.69,10.5,98.89,10.7), (5.85,11.5,6.05,11.7), (17.5,11.5,17.7,11.7), (33.12,11.5,33.32,11.7), (34.15,11.5,34.35,11.7), (42.76,11.5,42.96,11.7), (48.6,11.5,48.8,11.7), (65.5,11.5,65.7,11.7), (4.85,12.5,5.05,12.7), (23.48,12.5,23.68,12.7), (52.4,12.5,52.6,12.7), (64.15,12.5,64.35,12.7), (69.75,12.5,69.95,12.7), (117.9,12.5,118.1,12.7), (13.84,13.5,14.04,13.7), (62.04,13.5,62.24,13.7), (84.15,13.5,84.35,13.7), (91.59,13.5,91.79,13.7), (95.14,13.5,95.34,13.7), (101.6,13.5,101.8,13.7), (78.75,16.45,78.95,16.65), (82.45,16.45,82.65,16.65), (67,18.75,67.2,18.95), (81.9,18.8,82.1,19)])
R(iptat, met3_pin, [(118.4,10.35,118.9,10.85)])
A(iptat, met3, 12.3, 9.325, 0.6, 0.025, 3, 2, 15.55, 0.525)
A(iptat, met3, 74.5, 9.325, 0.6, 0.025, 3, 2, 15.55, 0.525)
A(iptat, met3, 79.5, 11.325, 0.6, 0.025, 3, 2, 15.55, 0.525)
R(iptat, met3, [(115.4,9.325,116,9.35), (6.4,9.35,117.6,9.85), (115.4,9.85,116,9.875), (87.84,10.325,88.44,10.35), (98.49,10.325,99.09,10.35), (6.4,10.35,118.9,10.85), (87.84,10.85,88.44,10.875), (98.49,10.85,99.09,10.875), (5.65,11.325,6.25,11.35), (17.3,11.325,17.9,11.35), (32.92,11.325,33.52,11.35), (33.95,11.325,34.55,11.35), (42.56,11.325,43.16,11.35), (48.4,11.325,49,11.35), (65.3,11.325,65.9,11.35), (5.65,11.35,117.6,11.85), (5.65,11.85,6.25,11.875), (17.3,11.85,17.9,11.875), (32.92,11.85,33.52,11.875), (33.95,11.85,34.55,11.875), (42.56,11.85,43.16,11.875), (48.4,11.85,49,11.875), (65.3,11.85,65.9,11.875), (4.65,12.325,5.25,12.35), (23.28,12.325,23.88,12.35), (52.2,12.325,52.8,12.35), (63.95,12.325,64.55,12.35), (69.55,12.325,70.15,12.35), (117.7,12.325,118.3,12.35), (4.65,12.35,118.3,12.85), (4.65,12.85,5.25,12.875), (23.28,12.85,23.88,12.875), (52.2,12.85,52.8,12.875), (63.95,12.85,64.55,12.875), (69.55,12.85,70.15,12.875), (117.7,12.85,118.3,12.875), (13.64,13.325,14.24,13.35), (61.84,13.325,62.44,13.35), (83.95,13.325,84.55,13.35), (91.39,13.325,91.99,13.35), (94.94,13.325,95.54,13.35), (101.4,13.325,102,13.35), (6.4,13.35,117.6,13.85), (13.64,13.85,14.24,13.875), (61.84,13.85,62.44,13.875), (83.95,13.85,84.55,13.875), (91.39,13.85,91.99,13.875), (94.94,13.85,95.54,13.875), (101.4,13.85,102,13.875), (78.55,16.275,79.15,16.3), (82.25,16.275,82.85,16.3), (78.55,16.3,83.3,16.8), (78.55,16.8,79.15,16.825), (82.25,16.8,82.85,16.825), (66.8,18.575,67.4,18.65), (81.8,18.625,82.2,18.65), (66.8,18.65,82.2,19.125), (66.95,19.125,82.2,19.15), (81.8,19.15,82.2,19.175)])
A(iptat, hvi, 7.485, -2.485, 0.18, 10.98, 8, 1, 15.55, 0)
A(iptat, hvi, 85.775, 15.165, 0.18, 7.24, 5, 1, 3.55, 0)
R(iptat, hvi, [(4.865,-3.485,119.085,-2.485), (4.865,-2.485,6.115,8.495), (117.885,-2.485,119.085,8.495), (4.865,8.495,119.085,9.535), (68.665,13.665,118.035,14.15), (4.7,14.15,118.035,14.635), (4.7,14.635,80.325,14.665), (84.405,14.635,101.525,15.165), (117.065,14.635,118.035,22.415), (4.7,14.665,69.955,17.905), (4.7,17.905,80.325,17.915), (4.7,17.915,81.665,22.075), (4.7,22.075,83.615,22.415), (84.405,22.405,101.525,22.415), (4.7,22.415,118.035,23.385), (4.7,23.385,80.35,23.55)])
A(iptat, nsdm, 7.425, -2.425, 0.3, 10.86, 8, 1, 15.55, 0)
A(iptat, nsdm, 85.715, 15.225, 0.3, 7.12, 5, 1, 3.55, 0)
R(iptat, nsdm, [(4.925,14.375,68.175,15.225), (4.925,15.225,5.775,22.475), (67.325,15.225,68.175,19.475), (67.325,19.475,79.975,20.325), (67.325,20.325,68.175,22.475), (79.125,20.325,79.975,22.475), (4.925,22.475,79.975,23.325)])
R(iptat, psdm, [(4.925,-3.425,119.025,-2.575), (4.925,-2.575,5.775,8.625), (118.175,-2.575,119.025,8.625), (4.925,8.625,119.025,9.475), (68.725,13.725,117.975,14.575), (68.725,14.575,69.575,17.975), (102.19,14.575,117.975,14.89), (116.87,14.89,117.975,22.19), (68.725,17.975,81.525,18.825), (80.675,18.825,81.525,22.475), (102.19,22.19,117.975,22.475), (80.675,22.475,117.975,23.325)])
A(iptat, hvntm, 7.485, -2.485, 0.18, 10.98, 8, 1, 15.55, 0)
A(iptat, hvntm, 85.775, 15.165, 0.18, 7.24, 5, 1, 3.55, 0)
iptat.add(gdstk.Reference(sky130_fd_pr__res_high_p, (109.53,18.54), rotation=pi/2))
iptat.add(gdstk.Reference(sky130_fd_pr__nfet_g5v0d, (6.8,3.005), rotation=pi/2, x_reflection=True))
iptat.add(gdstk.Reference(sky130_fd_pr__nfet_g5v0d, (117.2,3.005), rotation=pi/2))
iptat.add(gdstk.Reference(c_sky130_fd_pr__nfet_g5v0d, (100.84,18.785), rotation=3*pi/2))
iptat.add(gdstk.Reference(c_sky130_fd_pr__nfet_g5v0d, (85.09,18.785), rotation=3*pi/2))
iptat.add(gdstk.Reference(sky130_fd_pr__pfet_g5v0d, (66.28,18.865), rotation=3*pi/2))
iptat.add(gdstk.Reference(c_sky130_fd_pr__pfet_g5v0d, (6.8,18.865), rotation=pi/2))
iptat.add(gdstk.Reference(c_sky130_fd_pr__nfet_g5v0d_, (108.65,3.005), rotation=3*pi/2))
iptat.add(gdstk.Reference(c_sky130_fd_pr__nfet_g5v0d_, (93.1,3.005), rotation=3*pi/2))
iptat.add(gdstk.Reference(c_sky130_fd_pr__nfet_g5v0d_, (77.55,3.005), rotation=3*pi/2))
iptat.add(gdstk.Reference(c_sky130_fd_pr__nfet_g5v0d_, (46.45,3.005), rotation=3*pi/2))
iptat.add(gdstk.Reference(c_sky130_fd_pr__nfet_g5v0d_, (30.9,3.005), rotation=3*pi/2))
iptat.add(gdstk.Reference(c_sky130_fd_pr__nfet_g5v0d_, (15.35,3.005), rotation=3*pi/2))
iptat.add(gdstk.Reference(c_sky130_fd_pr__nfet_g5v0d_, (62,3.005), rotation=3*pi/2))
iptat.add(gdstk.Reference(c_sky130_fd_pr__pfet_g5v0d_, (73.67,21.35), rotation=pi))
iptat.add(gdstk.Reference(c_sky130_fd_pr__nfet_g5v0d__, (82.64,19.39), rotation=pi))
iptat.add(gdstk.Reference(c_sky130_fd_pr__nfet_g5v0d___, (75.14,16.285), rotation=pi/2, x_reflection=True))
iptat.add(gdstk.Reference(c_sky130_fd_pr__nfet_g5v0d____, (94.74,18.785), rotation=3*pi/2))
iptat.add(gdstk.Reference(c_sky130_fd_pr__nfet_g5v0d____, (91.19,18.785), rotation=3*pi/2))
iptat.add(gdstk.Reference(c_sky130_fd_pr__nfet_g5v0d____, (98.29,18.785), rotation=3*pi/2))
iptat.add(gdstk.Reference(c_sky130_fd_pr__nfet_g5v0d____, (87.64,18.785), rotation=3*pi/2))
iptat.add(gdstk.Reference(c_sky130_fd_pr__pfet_g5v0d__, (12.44,18.865), rotation=3*pi/2))
iptat.add(gdstk.Reference(c_sky130_fd_pr__pfet_g5v0d__, (60.64,18.865), rotation=3*pi/2))
iptat.add(gdstk.Reference(c_sky130_fd_pr__pfet_g5v0d__, (51,18.865), rotation=3*pi/2))
iptat.add(gdstk.Reference(c_sky130_fd_pr__pfet_g5v0d__, (22.08,18.865), rotation=3*pi/2))
iptat.add(gdstk.Reference(c_sky130_fd_pr__pfet_g5v0d__, (41.36,18.865), rotation=pi/2))
iptat.add(gdstk.Reference(c_sky130_fd_pr__pfet_g5v0d__, (31.72,18.865), rotation=3*pi/2))
iptat.add(gdstk.Label('vdda', (5.2,24.9), layer=68, texttype=5))
iptat.add(gdstk.Label('iptat', (118.65,10.6), layer=70, texttype=5))
iptat.add(gdstk.Label('vssa', (5.2,13.15), layer=68, texttype=5))

lib.write_gds('iptat.gds')
